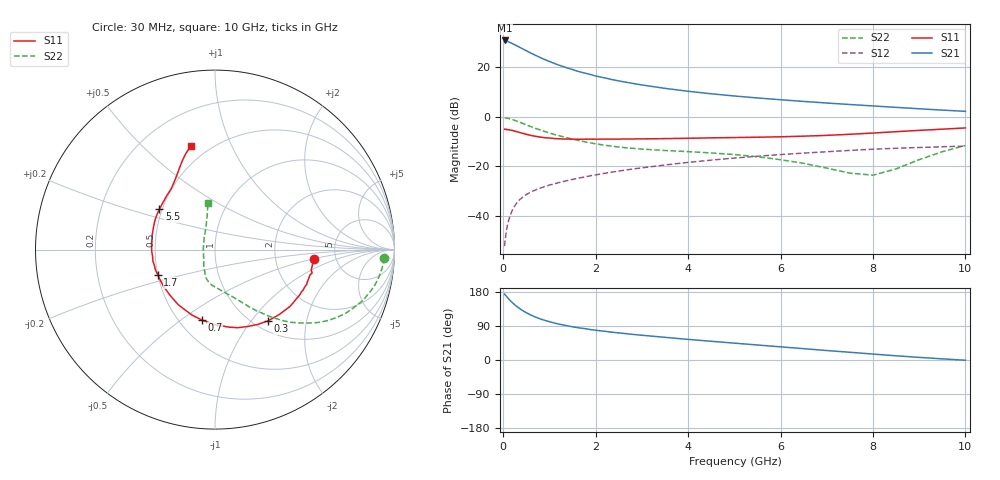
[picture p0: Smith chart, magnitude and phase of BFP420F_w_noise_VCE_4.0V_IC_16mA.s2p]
! Infineon Technologies  Discrete & RF Semiconductors
! BFP420F
! VCE =  4.0 V,  IC =  16 mA
! Common Emitter S-Parameters:  Sep 2011
# GHz  S  MA  R  50
!  f  S11  S21  S12  S22
! GHz  MAG  ANG  MAG  ANG  MAG  ANG  MAG  ANG
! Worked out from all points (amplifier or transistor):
!   54 points, 30 MHz to 10 GHz, reference 50 ohm
!   highest |S21| = 30.8 dB at 30 MHz (marker M1)
!   |S21| within 3 dB of that: start of sweep to 380.2 MHz
!   unconditionally stable (mu >= 1): 1.839 GHz to end of sweep
!   at 120 MHz: K = 0.36, MSG = 36.0 dB, |S12| = -41.7 dB
!   at 1.3 GHz: K = 0.86, MSG = 23.2 dB, |S12| = -26.2 dB
!   at 10 GHz: K = 1.25, MAG = 4.0 dB, |S12| = -11.9 dB
!   lowest NFmin = 1.40 dB at 450 MHz
!   S11 on the Smith chart (normalised r, x): 30 MHz: 3.41, -0.54; 300 MHz: 1.16, -1.22; 700 MHz: 0.64, -0.60; 1.7 GHz: 0.50, -0.16; 5.5 GHz: 0.48, +0.26; 10 GHz: 0.40, +0.71
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0.03  0.5559 -5.6  34.71 173.9  0.0024 62.1  0.9406 -2.8
0.05  0.5494 -8.7  34.1 170.6  0.0036 68.8  0.9393 -4.8
0.07  0.5569 -13.5  33.9 168.2  0.0049 70.0  0.9347 -7.0
0.1  0.5451 -18.9  33.17 163.6  0.0069 73.4  0.9238 -9.9
0.15  0.5354 -28.0  31.48 156.9  0.01 72.7  0.8998 -14.6
0.2  0.5246 -36.9  29.94 151.2  0.013 71.7  0.8717 -18.9
0.25  0.509 -45.3  28.33 145.6  0.0157 70.0  0.8388 -22.6
0.3  0.495 -53.2  26.96 140.7  0.0183 68.5  0.8085 -26.2
0.4  0.4649 -67.3  24.01 132.0  0.0227 65.7  0.7432 -32.1
0.5  0.4392 -79.7  21.46 124.8  0.0266 63.4  0.682 -36.8
0.6  0.4167 -90.9  19.2 118.5  0.0299 61.7  0.6263 -40.8
0.7  0.3994 -100.6  17.35 113.2  0.033 60.7  0.5799 -44.2
0.9  0.3749 -116.7  14.22 104.6  0.0385 59.6  0.4995 -49.4
1.1  0.3613 -129.7  12.01 97.8  0.0437 59.0  0.4378 -53.7
1.4  0.3528 -144.5  9.578 90.1  0.0513 58.9  0.3702 -59.3
1.7  0.348 -156.1  7.866 83.9  0.0588 58.7  0.3184 -64.3
2.4  0.3499 -174.2  5.496 72.7  0.0767 57.6  0.2496 -76.0
3.5  0.3594 166.7  3.731 59.8  0.1053 54.3  0.2067 -90.9
5.5  0.3832 143.8  2.386 39.6  0.1581 44.3  0.1546 -110.3
7  0.4176 125.8  1.885 25.0  0.195 35.3  0.091 -133.6
8.5  0.4963 113.5  1.539 11.1  0.2291 25.2  0.0876 133.6
10  0.5909 103.3  1.279 -0.6  0.2535 16.1  0.261 98.7
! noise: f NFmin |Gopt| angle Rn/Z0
0.45  1.4  0.11  177  0.19
0.9  1.41  0.12  171  0.13
1.9  1.53  0.22  -175  0.14
2.4  1.59  0.22  -173  0.12
3.5  1.84  0.26  -161  0.16
